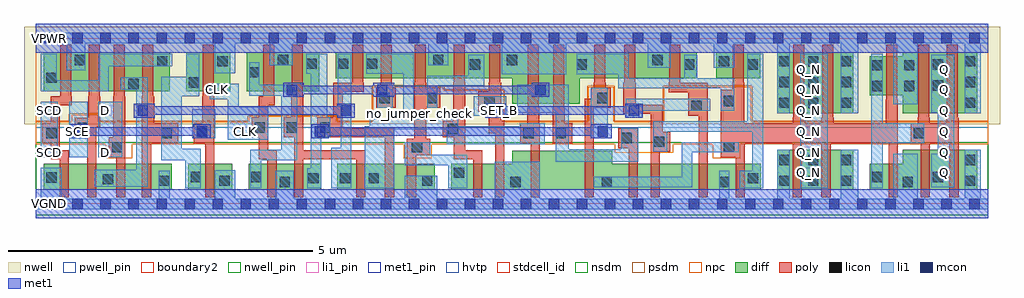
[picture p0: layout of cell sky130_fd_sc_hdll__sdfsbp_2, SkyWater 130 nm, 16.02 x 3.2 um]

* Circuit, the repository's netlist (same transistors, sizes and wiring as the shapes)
* Copyright 2020 The SkyWater PDK Authors
*
* Licensed under the Apache License, Version 2.0 (the "License");
* you may not use this file except in compliance with the License.
* You may obtain a copy of the License at
*
*     https://www.apache.org/licenses/LICENSE-2.0
*
* Unless required by applicable law or agreed to in writing, software
* distributed under the License is distributed on an "AS IS" BASIS,
* WITHOUT WARRANTIES OR CONDITIONS OF ANY KIND, either express or implied.
* See the License for the specific language governing permissions and
* limitations under the License.
*
* SPDX-License-Identifier: Apache-2.0

.SUBCKT sky130_fd_sc_hdll__sdfsbp_2 CLK D SCD SCE SET_B VGND VNB VPB VPWR Q Q_N
*.PININFO CLK:I D:I SCD:I SCE:I SET_B:I VGND:I VNB:I VPB:I VPWR:I Q:O
*.PININFO Q_N:O
MI101 db sceb p1 VPB sky130_fd_pr__pfet_01v8_hvt m=1 w=0.64U l=0.18U mult=1 sa=0.265
+ sb=0.265 sd=0.28 area=0.063 perim=1.14
MI107 p0 SCE VPWR VPB sky130_fd_pr__pfet_01v8_hvt m=1 w=0.64U l=0.18U mult=1 sa=0.265
+ sb=0.265 sd=0.28 area=0.063 perim=1.14
MI94 db D p0 VPB sky130_fd_pr__pfet_01v8_hvt m=1 w=0.64U l=0.18U mult=1 sa=0.265
+ sb=0.265 sd=0.28 area=0.063 perim=1.14
MI108 p1 SCD VPWR VPB sky130_fd_pr__pfet_01v8_hvt m=1 w=0.64U l=0.18U mult=1 sa=0.265
+ sb=0.265 sd=0.28 area=0.063 perim=1.14
MI645 sceb SCE VPWR VPB sky130_fd_pr__pfet_01v8_hvt m=1 w=0.64U l=0.18U mult=1
+ sa=0.265 sb=0.265 sd=0.28 area=0.063 perim=1.14
MI658 M1 M0 VPWR VPB sky130_fd_pr__pfet_01v8_hvt m=1 w=0.42U l=0.18U mult=1 sa=0.265
+ sb=0.265 sd=0.28 area=0.063 perim=1.14
MI47 clkpos clkneg VPWR VPB sky130_fd_pr__pfet_01v8_hvt m=1 w=0.64U l=0.18U mult=1
+ sa=0.265 sb=0.265 sd=0.28 area=0.063 perim=1.14
MI663 net195 S0 VPWR VPB sky130_fd_pr__pfet_01v8_hvt m=1 w=0.64U l=0.18U mult=1
+ sa=0.265 sb=0.265 sd=0.28 area=0.063 perim=1.14
MI660 Q net195 VPWR VPB sky130_fd_pr__pfet_01v8_hvt m=2 w=1.0U l=0.18U mult=1 sa=0.265
+ sb=0.265 sd=0.28 area=0.063 perim=1.14
MI659 M1 SET_B VPWR VPB sky130_fd_pr__pfet_01v8_hvt m=1 w=0.42U l=0.18U mult=1
+ sa=0.265 sb=0.265 sd=0.28 area=0.063 perim=1.14
MI662 net130 M1 VPWR VPB sky130_fd_pr__pfet_01v8_hvt m=1 w=0.42U l=0.18U mult=1
+ sa=0.265 sb=0.265 sd=0.28 area=0.063 perim=1.14
MI664 M0 clkneg net130 VPB sky130_fd_pr__pfet_01v8_hvt m=1 w=0.42U l=0.18U mult=1
+ sa=0.265 sb=0.265 sd=0.28 area=0.063 perim=1.14
MI6 net122 S1 VPWR VPB sky130_fd_pr__pfet_01v8_hvt m=1 w=0.42U l=0.18U mult=1 sa=0.265
+ sb=0.265 sd=0.28 area=0.063 perim=1.14
MI669 S0 clkpos net122 VPB sky130_fd_pr__pfet_01v8_hvt m=1 w=0.42U l=0.18U mult=1
+ sa=0.265 sb=0.265 sd=0.28 area=0.063 perim=1.14
MI24 S0 SET_B VPWR VPB sky130_fd_pr__pfet_01v8_hvt m=1 w=0.42U l=0.18U mult=1 sa=0.265
+ sb=0.265 sd=0.28 area=0.063 perim=1.14
MI648 S1 S0 VPWR VPB sky130_fd_pr__pfet_01v8_hvt m=1 w=0.42U l=0.18U mult=1 sa=0.265
+ sb=0.265 sd=0.28 area=0.063 perim=1.14
MI38 S0 clkneg net107 VPB sky130_fd_pr__pfet_01v8_hvt m=1 w=0.84U l=0.18U mult=1
+ sa=0.265 sb=0.265 sd=0.28 area=0.063 perim=1.14
MI37 net107 M0 VPWR VPB sky130_fd_pr__pfet_01v8_hvt m=1 w=0.84U l=0.18U mult=1
+ sa=0.265 sb=0.265 sd=0.28 area=0.063 perim=1.14
MI43 db clkpos M0 VPB sky130_fd_pr__pfet_01v8_hvt m=1 w=0.42U l=0.18U mult=1 sa=0.265
+ sb=0.265 sd=0.28 area=0.063 perim=1.14
MI45 clkneg CLK VPWR VPB sky130_fd_pr__pfet_01v8_hvt m=1 w=0.64U l=0.18U mult=1
+ sa=0.265 sb=0.265 sd=0.28 area=0.063 perim=1.14
MI661 Q_N S0 VPWR VPB sky130_fd_pr__pfet_01v8_hvt m=2 w=1.0U l=0.18U mult=1 sa=0.265
+ sb=0.265 sd=0.28 area=0.063 perim=1.14
MI98 db D n0 VNB sky130_fd_pr__nfet_01v8 m=1 w=0.42U l=0.15U mult=1 sa=0.265 sb=0.265
+ sd=0.28 area=0.525 perim=3.1
MI103 n1 SCD VGND VNB sky130_fd_pr__nfet_01v8 m=1 w=0.42U l=0.15U mult=1 sa=0.265
+ sb=0.265 sd=0.28 area=0.525 perim=3.1
MI120 db SCE n1 VNB sky130_fd_pr__nfet_01v8 m=1 w=0.42U l=0.15U mult=1 sa=0.265
+ sb=0.265 sd=0.28 area=0.525 perim=3.1
MI104 n0 sceb VGND VNB sky130_fd_pr__nfet_01v8 m=1 w=0.42U l=0.15U mult=1 sa=0.265
+ sb=0.265 sd=0.28 area=0.525 perim=3.1
MI34 S0 clkpos net242 VNB sky130_fd_pr__nfet_01v8 m=1 w=0.64U l=0.15U mult=1 sa=0.265
+ sb=0.265 sd=0.28 area=0.063 perim=1.14
MI27 net239 S1 net187 VNB sky130_fd_pr__nfet_01v8 m=1 w=0.42U l=0.15U mult=1 sa=0.265
+ sb=0.265 sd=0.28 area=0.063 perim=1.14
MI647 S1 S0 VGND VNB sky130_fd_pr__nfet_01v8 m=1 w=0.42U l=0.15U mult=1 sa=0.265
+ sb=0.265 sd=0.28 area=0.063 perim=1.14
MI655 M0 clkpos net223 VNB sky130_fd_pr__nfet_01v8 m=1 w=0.42U l=0.15U mult=1 sa=0.265
+ sb=0.265 sd=0.28 area=0.063 perim=1.14
MI656 M1 M0 net226 VNB sky130_fd_pr__nfet_01v8 m=1 w=0.42U l=0.15U mult=1 sa=0.265
+ sb=0.265 sd=0.28 area=0.063 perim=1.14
MI654 net223 M1 VGND VNB sky130_fd_pr__nfet_01v8 m=1 w=0.42U l=0.15U mult=1 sa=0.265
+ sb=0.265 sd=0.28 area=0.063 perim=1.14
MI36 net242 M0 VGND VNB sky130_fd_pr__nfet_01v8 m=1 w=0.64U l=0.15U mult=1 sa=0.265
+ sb=0.265 sd=0.28 area=0.063 perim=1.14
MI26 S0 clkneg net239 VNB sky130_fd_pr__nfet_01v8 m=1 w=0.42U l=0.15U mult=1 sa=0.265
+ sb=0.265 sd=0.28 area=0.063 perim=1.14
MI42 db clkneg M0 VNB sky130_fd_pr__nfet_01v8 m=1 w=0.42U l=0.15U mult=1 sa=0.265
+ sb=0.265 sd=0.28 area=0.063 perim=1.14
MI46 clkpos clkneg VGND VNB sky130_fd_pr__nfet_01v8 m=1 w=0.42U l=0.15U mult=1
+ sa=0.265 sb=0.265 sd=0.28 area=0.063 perim=1.14
MI44 clkneg CLK VGND VNB sky130_fd_pr__nfet_01v8 m=1 w=0.42U l=0.15U mult=1 sa=0.265
+ sb=0.265 sd=0.28 area=0.063 perim=1.14
MI657 net226 SET_B VGND VNB sky130_fd_pr__nfet_01v8 m=1 w=0.42U l=0.15U mult=1
+ sa=0.265 sb=0.265 sd=0.28 area=0.063 perim=1.14
MI652 net195 S0 VGND VNB sky130_fd_pr__nfet_01v8 m=1 w=0.42U l=0.15U mult=1 sa=0.265
+ sb=0.265 sd=0.28 area=0.063 perim=1.14
MI644 sceb SCE VGND VNB sky130_fd_pr__nfet_01v8 m=1 w=0.42U l=0.15U mult=1 sa=0.265
+ sb=0.265 sd=0.28 area=0.063 perim=1.14
MI25 net187 SET_B VGND VNB sky130_fd_pr__nfet_01v8 m=1 w=0.42U l=0.15U mult=1 sa=0.265
+ sb=0.265 sd=0.28 area=0.063 perim=1.14
MI653 Q net195 VGND VNB sky130_fd_pr__nfet_01v8 m=2 w=0.65U l=0.15U mult=1 sa=0.265
+ sb=0.265 sd=0.28 area=0.063 perim=1.14
MI651 Q_N S0 VGND VNB sky130_fd_pr__nfet_01v8 m=2 w=0.65U l=0.15U mult=1 sa=0.265
+ sb=0.265 sd=0.28 area=0.063 perim=1.14
.ENDS sky130_fd_sc_hdll__sdfsbp_2

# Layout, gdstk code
import gdstk
lib = gdstk.Library(unit=1e-6, precision=1e-09)
def R(c, l, rs):  # rectangles x0, y0, x1, y1
    for r in rs: c.add(gdstk.rectangle(r[:2], r[2:], *l))
def A(c, l, x, y, w, h, nx, ny, dx, dy):  # array of equal rectangles
    R(c, l, [(x+i*dx, y+j*dy, x+i*dx+w, y+j*dy+h) for i in range(nx) for j in range(ny)])
def P(c, l, *ps):  # polygons
    for p in ps: c.add(gdstk.Polygon(p, *l))
nwell_pin = (64, 16)
nwell = (64, 20)
diff = (65, 20)
poly = (66, 20)
licon = (66, 44)
li1_pin = (67, 16)
li1 = (67, 20)
mcon = (67, 44)
met1_pin = (68, 16)
met1 = (68, 20)
hvtp = (78, 44)
stdcell_id = (81, 4)
nsdm = (93, 44)
psdm = (94, 20)
npc = (95, 20)
pwell_pin = (122, 16)
boundary2 = (236, 0)

sky130_fd_sc_hdll__sdfsb = lib.new_cell('sky130_fd_sc_hdll__sdfsbp_2')
R(sky130_fd_sc_hdll__sdfsb, nwell_pin, [(0.15,2.635,0.32,2.805)])
R(sky130_fd_sc_hdll__sdfsb, nwell, [(-0.19,1.305,15.83,2.91)])
R(sky130_fd_sc_hdll__sdfsb, diff, [(0.135,0.235,2.235,0.655), (2.505,0.235,3.225,0.655), (3.495,0.235,4.685,0.655), (4.955,0.235,6.555,0.655), (12.17,0.235,13.425,0.885), (12.17,1.485,13.425,2.485), (0.135,1.845,2.205,2.485), (2.475,1.845,3.195,2.485), (3.465,1.845,4.655,2.485), (11.175,2.065,11.895,2.485)])
P(sky130_fd_sc_hdll__sdfsb, diff, [(15.46,0.885),(14.23,0.885),(14.23,0.655),(13.695,0.655),(13.695,0.235),(15.46,0.235)],
  [(15.46,2.485),(14.23,2.485),(14.23,2.42),(13.695,2.42),(13.695,1.78),(14.23,1.78),(14.23,1.485),(15.46,1.485)],
  [(11.9,0.655),(9.465,0.655),(9.465,0.875),(7.82,0.875),(7.82,0.655),(6.825,0.655),(6.825,0.235),(11.9,0.235)],
  [(10.855,2.485),(4.925,2.485),(4.925,2.065),(7.82,2.065),(7.82,1.645),(8.935,1.645),(8.935,2.065),(10.855,2.065)])
P(sky130_fd_sc_hdll__sdfsb, poly, [(0.595,1.77),(0.585,1.77),(0.585,2.615),(0.405,2.615),(0.405,1.77),(0.245,1.77),(0.245,1.325),(0.11,1.325),(0.11,0.995),(0.245,0.995),(0.245,0.73),(0.395,0.73),(0.395,0.105),(0.545,0.105),(0.545,0.88),(0.395,0.88),(0.395,1.62),(0.595,1.62)],
  [(1.065,1.77),(1.055,1.77),(1.055,2.615),(0.875,2.615),(0.875,1.77),(0.865,1.77),(0.865,1.41),(0.64,1.41),(0.64,1.08),(0.845,1.08),(0.845,0.105),(0.995,0.105),(0.995,1.265),(1.065,1.265)],
  [(1.475,1.77),(1.465,1.77),(1.465,2.615),(1.285,2.615),(1.285,1.77),(1.275,1.77),(1.275,1.095),(1.205,1.095),(1.205,0.765),(1.325,0.765),(1.325,0.105),(1.475,0.105)],
  [(2.345,1.325),(1.945,1.325),(1.945,1.77),(1.935,1.77),(1.935,2.615),(1.755,2.615),(1.755,1.77),(1.745,1.77),(1.745,0.105),(1.895,0.105),(1.895,0.995),(2.345,0.995)],
  [(2.935,1.77),(2.925,1.77),(2.925,2.615),(2.745,2.615),(2.745,1.77),(2.735,1.77),(2.735,1.325),(2.6,1.325),(2.6,0.995),(2.785,0.995),(2.785,0.105),(2.935,0.105)],
  [(3.955,0.88),(3.815,0.88),(3.815,1.62),(3.925,1.62),(3.925,1.77),(3.915,1.77),(3.915,2.615),(3.735,2.615),(3.735,1.77),(3.665,1.77),(3.665,1.42),(3.545,1.42),(3.545,1.09),(3.665,1.09),(3.665,0.73),(3.805,0.73),(3.805,0.105),(3.955,0.105)],
  [(5.415,0.88),(4.395,0.88),(4.395,1.77),(4.385,1.77),(4.385,2.615),(4.205,2.615),(4.205,1.77),(4.195,1.77),(4.195,1.42),(4.075,1.42),(4.075,1.09),(4.245,1.09),(4.245,0.105),(4.395,0.105),(4.395,0.73),(5.265,0.73),(5.265,0.105),(5.415,0.105)],
  [(5.885,1.24),(5.04,1.24),(5.04,1.84),(5.385,1.84),(5.385,1.99),(5.375,1.99),(5.375,2.615),(5.195,2.615),(5.195,1.99),(4.89,1.99),(4.89,1.42),(4.62,1.42),(4.62,1.09),(5.735,1.09),(5.735,0.105),(5.885,0.105)],
  [(5.915,1.905),(5.855,1.905),(5.855,1.99),(5.845,1.99),(5.845,2.615),(5.665,2.615),(5.665,1.99),(5.655,1.99),(5.655,1.905),(5.595,1.905),(5.595,1.575),(5.915,1.575)],
  [(6.645,1.905),(6.415,1.905),(6.415,1.99),(6.405,1.99),(6.405,2.615),(6.225,2.615),(6.225,1.99),(6.215,1.99),(6.215,1.065),(6.095,1.065),(6.095,0.105),(6.245,0.105),(6.245,0.795),(6.475,0.795),(6.475,1.065),(6.415,1.065),(6.415,1.575),(6.645,1.575)],
  [(7.335,0.88),(7.055,0.88),(7.055,1.99),(7.045,1.99),(7.045,2.615),(6.865,2.615),(6.865,1.99),(6.855,1.99),(6.855,1.365),(6.685,1.365),(6.685,1.095),(6.865,1.095),(6.865,0.73),(7.185,0.73),(7.185,0.105),(7.335,0.105)],
  [(7.695,1.365),(7.64,1.365),(7.64,1.99),(7.63,1.99),(7.63,2.615),(7.45,2.615),(7.45,1.99),(7.44,1.99),(7.44,1.845),(7.265,1.845),(7.265,1.515),(7.44,1.515),(7.44,1.16),(7.545,1.16),(7.545,0.105),(7.695,0.105)],
  [(8.275,1.325),(8.27,1.325),(8.27,1.57),(8.26,1.57),(8.26,2.615),(8.08,2.615),(8.08,1.57),(8.07,1.57),(8.07,1.325),(7.955,1.325),(7.955,0.995),(8.125,0.995),(8.125,0.105),(8.275,0.105)],
  [(8.805,1.325),(8.685,1.325),(8.685,1.57),(8.675,1.57),(8.675,2.615),(8.495,2.615),(8.495,1.57),(8.485,1.57),(8.485,0.995),(8.805,0.995)],
  [(9.44,1.905),(9.36,1.905),(9.36,1.99),(9.35,1.99),(9.35,2.615),(9.17,2.615),(9.17,1.99),(9.16,1.99),(9.16,1.905),(9.12,1.905),(9.12,1.725),(9.015,1.725),(9.015,0.105),(9.165,0.105),(9.165,1.575),(9.44,1.575)],
  [(9.885,1.245),(9.56,1.245),(9.56,0.915),(9.735,0.915),(9.735,0.105),(9.885,0.105)],
  [(10.415,1.185),(10.295,1.185),(10.295,1.625),(9.85,1.625),(9.85,1.99),(9.84,1.99),(9.84,2.615),(9.66,2.615),(9.66,1.99),(9.65,1.99),(9.65,1.475),(10.095,1.475),(10.095,0.105),(10.245,0.105),(10.245,0.855),(10.415,0.855)],
  [(11.035,1.985),(10.595,1.985),(10.595,1.99),(10.585,1.99),(10.585,2.615),(10.405,2.615),(10.405,1.99),(10.395,1.99),(10.395,1.835),(10.715,1.835),(10.715,1.445),(10.885,1.445),(10.885,0.105),(11.035,0.105)],
  [(14.155,1.705),(14.145,1.705),(14.145,2.615),(13.965,2.615),(13.965,1.705),(13.955,1.705),(13.955,1.325),(13.1,1.325),(13.1,1.41),(13.09,1.41),(13.09,2.615),(12.91,2.615),(12.91,1.41),(12.9,1.41),(12.9,1.325),(12.63,1.325),(12.63,1.41),(12.62,1.41),(12.62,2.615),(12.44,2.615),(12.44,1.41),(12.43,1.41),(12.43,1.325),(11.635,1.325),(11.635,1.99),(11.625,1.99),(11.625,2.615),(11.445,2.615),(11.445,1.99),(11.435,1.99),(11.435,1.875),(11.245,1.875),(11.245,0.765),(11.49,0.765),(11.49,0.105),(11.64,0.105),(11.64,0.995),(12.43,0.995),(12.43,0.105),(12.58,0.105),(12.58,0.995),(12.9,0.995),(12.9,0.105),(13.05,0.105),(13.05,0.995),(14.005,0.995),(14.005,0.105),(14.155,0.105)],
  [(15.15,1.41),(15.14,1.41),(15.14,2.615),(14.96,2.615),(14.96,1.41),(14.95,1.41),(14.95,1.325),(14.68,1.325),(14.68,1.41),(14.67,1.41),(14.67,2.615),(14.49,2.615),(14.49,1.41),(14.48,1.41),(14.48,1.325),(14.365,1.325),(14.365,0.995),(14.53,0.995),(14.53,0.105),(14.68,0.105),(14.68,0.995),(15,0.995),(15,0.105),(15.15,0.105)])
A(sky130_fd_sc_hdll__sdfsb, licon, 12.68, 1.57, 0.17, 0.17, 1, 3, 0, 0.34)
A(sky130_fd_sc_hdll__sdfsb, licon, 12.21, 1.575, 0.17, 0.17, 1, 3, 0, 0.34)
A(sky130_fd_sc_hdll__sdfsb, licon, 13.215, 1.575, 0.17, 0.17, 1, 3, 0, 0.34)
A(sky130_fd_sc_hdll__sdfsb, licon, 15.25, 1.575, 0.17, 0.17, 1, 3, 0, 0.34)
R(sky130_fd_sc_hdll__sdfsb, licon, [(4.005,0.275,4.175,0.445), (7.795,0.275,7.965,0.445), (9.29,0.275,9.46,0.445), (11.22,0.275,11.39,0.445), (14.23,0.275,14.4,0.445), (2.025,0.295,2.195,0.465), (3.015,0.295,3.185,0.465), (6.345,0.295,6.515,0.465), (12.21,0.295,12.38,0.465), (12.68,0.295,12.85,0.465), (13.215,0.295,13.385,0.465), (15.25,0.295,15.42,0.465), (1.105,0.32,1.275,0.49), (4.475,0.335,4.645,0.505), (4.995,0.335,5.165,0.505), (5.465,0.335,5.635,0.505), (11.69,0.335,11.86,0.505), (0.175,0.345,0.345,0.515), (2.545,0.355,2.715,0.525), (3.535,0.355,3.705,0.525), (13.735,0.355,13.905,0.525), (14.73,0.355,14.9,0.525), (6.865,0.425,7.035,0.595), (12.21,0.635,12.38,0.805), (12.68,0.635,12.85,0.805), (13.215,0.635,13.385,0.805), (15.25,0.635,15.42,0.805), (1.255,0.845,1.425,1.015), (6.175,0.845,6.345,1.015), (11.295,0.845,11.465,1.015), (10.145,0.935,10.315,1.105), (9.615,0.995,9.785,1.165), (0.175,1.075,0.345,1.245), (2.065,1.075,2.235,1.245), (2.65,1.075,2.82,1.245), (8.005,1.075,8.175,1.245), (8.535,1.075,8.705,1.245), (14.415,1.075,14.585,1.245), (6.765,1.145,6.935,1.315), (0.69,1.16,0.86,1.33), (3.595,1.17,3.765,1.34), (4.125,1.17,4.295,1.34), (4.67,1.17,4.84,1.34), (10.765,1.525,10.935,1.695), (7.365,1.595,7.535,1.765), (11.295,1.605,11.465,1.775), (5.645,1.655,5.815,1.825), (6.425,1.655,6.595,1.825), (9.22,1.655,9.39,1.825), (13.735,1.85,13.905,2.02), (14.255,1.85,14.425,2.02), (14.73,1.86,14.9,2.03), (1.525,1.885,1.695,2.055), (2.515,1.905,2.685,2.075), (0.175,1.985,0.345,2.155), (3.505,2.075,3.675,2.245), (13.735,2.19,13.905,2.36), (14.255,2.19,14.425,2.36), (7.125,2.2,7.295,2.37), (10.645,2.2,10.815,2.37), (11.685,2.2,11.855,2.37), (14.73,2.2,14.9,2.37), (8.88,2.205,9.05,2.375), (4.445,2.215,4.615,2.385), (4.965,2.215,5.135,2.385), (5.435,2.215,5.605,2.385), (1.995,2.255,2.165,2.425), (2.985,2.255,3.155,2.425), (11.215,2.255,11.385,2.425), (0.645,2.275,0.815,2.445), (3.975,2.275,4.145,2.445), (6.525,2.275,6.695,2.445), (7.735,2.275,7.905,2.445), (10.125,2.275,10.295,2.445)])
A(sky130_fd_sc_hdll__sdfsb, li1_pin, 12.595, 0.425, 0.17, 0.17, 1, 6, 0, 0.34)
A(sky130_fd_sc_hdll__sdfsb, li1_pin, 14.835, 0.425, 0.17, 0.17, 1, 6, 0, 0.34)
R(sky130_fd_sc_hdll__sdfsb, li1_pin, [(0.15,0.765,0.32,0.935), (1.08,0.765,1.25,0.935), (3.37,1.105,3.54,1.275), (0.15,1.445,0.32,1.615), (1.08,1.445,1.25,1.615), (2.91,1.785,3.08,1.955)])
R(sky130_fd_sc_hdll__sdfsb, li1, [(12.21,0.155,12.38,0.885), (12.555,0.255,13,2.465), (0.085,0.765,0.365,1.675), (0.55,0.765,0.86,1.675), (1.03,0.765,1.425,1.675), (2.57,1.075,2.95,1.55), (9.115,1.075,9.395,1.905), (7.19,1.445,7.725,1.765), (12.17,1.485,12.38,2.555), (5.605,1.575,5.865,1.955)])
P(sky130_fd_sc_hdll__sdfsb, li1, [(14.585,1.325),(13.905,1.325),(13.905,2.465),(13.72,2.465),(13.72,0.255),(13.905,0.255),(13.905,0.995),(14.585,0.995)],
  [(15.08,2.45),(14.7,2.45),(14.7,1.495),(14.805,1.495),(14.805,0.825),(14.7,0.825),(14.7,0.275),(15.08,0.275)],
  [(11.945,2.465),(11.685,2.465),(11.685,1.355),(10.14,1.355),(10.14,0.855),(10.365,0.855),(10.365,1.185),(11.765,1.185),(11.765,0.54),(11.56,0.54),(11.56,0.255),(11.945,0.255)],
  [(11.545,1.015),(10.605,1.015),(10.605,0.445),(9.16,0.445),(9.16,0.275),(10.775,0.275),(10.775,0.845),(11.545,0.845)],
  [(11.465,2.065),(10.86,2.065),(10.86,2.45),(10.645,2.45),(10.645,2.065),(9.735,2.065),(9.735,2.46),(8.88,2.46),(8.88,2.125),(9.565,2.125),(9.565,1.895),(11.245,1.895),(11.245,1.525),(11.465,1.525)],
  [(11.075,1.725),(9.685,1.725),(9.685,1.415),(9.96,1.415),(9.96,1.525),(11.075,1.525)],
  [(9.89,1.245),(9.61,1.245),(9.61,0.895),(8.755,0.895),(8.755,1.955),(7.91,1.955),(7.91,1.495),(8.535,1.495),(8.535,0.695),(9.89,0.695)],
  [(8.36,1.325),(7.95,1.325),(7.95,1.275),(6.935,1.275),(6.935,1.395),(6.205,1.395),(6.205,2.465),(5.43,2.465),(5.43,2.135),(6.035,2.135),(6.035,1.395),(5.485,1.395),(5.485,1.275),(5.4,1.275),(5.4,0.255),(5.89,0.255),(5.89,1.225),(6.75,1.225),(6.75,0.975),(8.36,0.975)],
  [(7.365,2.45),(7.1,2.45),(7.1,2.105),(6.425,2.105),(6.425,1.575),(6.595,1.575),(6.595,1.935),(7.365,1.935)],
  [(7.085,0.805),(6.475,0.805),(6.475,1.015),(6.06,1.015),(6.06,0.635),(6.775,0.635),(6.775,0.255),(7.085,0.255)],
  [(15.64,2.805),(0,2.805),(0,2.635),(0.515,2.635),(0.515,2.195),(0.815,2.195),(0.815,2.635),(2.94,2.635),(2.94,2.14),(3.28,2.14),(3.28,2.635),(3.845,2.635),(3.845,2.275),(4.225,2.275),(4.225,2.635),(6.445,2.635),(6.445,2.275),(6.775,2.275),(6.775,2.635),(7.655,2.635),(7.655,2.125),(8.71,2.125),(8.71,2.635),(10.045,2.635),(10.045,2.235),(10.425,2.235),(10.425,2.635),(11.135,2.635),(11.135,2.235),(11.465,2.235),(11.465,2.635),(12.17,2.635),(12.17,1.485),(12.38,1.485),(12.38,2.635),(13.215,2.635),(13.215,1.485),(13.505,1.485),(13.505,2.635),(14.075,2.635),(14.075,1.635),(14.48,1.635),(14.48,2.635),(15.25,2.635),(15.25,1.485),(15.515,1.485),(15.515,2.635),(15.64,2.635)],
  [(5.18,2.465),(4.96,2.465),(4.96,1.59),(5.01,1.59),(5.01,0.92),(4.855,0.92),(4.855,0.255),(5.18,0.255)],
  [(4.84,1.42),(4.79,1.42),(4.79,2.465),(4.445,2.465),(4.445,2.135),(4.515,2.135),(4.515,0.585),(4.46,0.585),(4.46,0.255),(4.685,0.255),(4.685,1.09),(4.84,1.09)],
  [(4.295,1.955),(3.675,1.955),(3.675,2.325),(3.505,2.325),(3.505,1.775),(4.035,1.775),(4.035,0.885),(3.52,0.885),(3.52,0.255),(3.705,0.255),(3.705,0.715),(4.295,0.715)],
  [(3.815,1.59),(3.335,1.59),(3.335,1.97),(2.855,1.97),(2.855,1.72),(3.155,1.72),(3.155,1.055),(3.815,1.055)],
  [(2.685,2.465),(2.47,2.465),(2.47,2.085),(2.065,2.085),(2.065,0.715),(2.46,0.715),(2.46,0.255),(2.715,0.255),(2.715,0.905),(2.4,0.905),(2.4,1.77),(2.685,1.77)],
  [(2.245,2.465),(1.035,2.465),(1.035,2.025),(0.345,2.025),(0.345,2.465),(0.085,2.465),(0.085,1.845),(1.205,1.845),(1.205,2.255),(2.245,2.255)],
  [(1.845,2.075),(1.395,2.075),(1.395,1.87),(1.655,1.87),(1.655,0.56),(0.975,0.56),(0.975,0.28),(1.845,0.28)],
  [(15.64,0.085),(15.515,0.085),(15.515,0.885),(15.25,0.885),(15.25,0.085),(14.48,0.085),(14.48,0.825),(14.075,0.825),(14.075,0.085),(13.505,0.085),(13.505,0.885),(13.215,0.885),(13.215,0.085),(12.38,0.085),(12.38,0.885),(12.17,0.885),(12.17,0.085),(11.39,0.085),(11.39,0.545),(11.22,0.545),(11.22,0.085),(8.275,0.085),(8.275,0.69),(7.54,0.69),(7.54,0.085),(6.595,0.085),(6.595,0.465),(6.06,0.465),(6.06,0.085),(4.24,0.085),(4.24,0.545),(3.93,0.545),(3.93,0.085),(3.28,0.085),(3.28,0.555),(2.94,0.555),(2.94,0.085),(2.205,0.085),(2.205,0.545),(2.025,0.545),(2.025,0.085),(0.43,0.085),(0.43,0.595),(0.085,0.595),(0.085,0.085),(0,0.085),(0,-0.085),(15.64,-0.085)])
A(sky130_fd_sc_hdll__sdfsb, mcon, 0.145, -0.085, 0.17, 0.17, 34, 2, 0.46, 2.72)
R(sky130_fd_sc_hdll__sdfsb, mcon, [(0.63,1.105,0.8,1.275), (2.645,1.105,2.815,1.275), (4.585,1.105,4.755,1.275), (9.225,1.105,9.395,1.275), (1.675,1.445,1.845,1.615), (5.01,1.445,5.18,1.615), (7.445,1.445,7.615,1.615), (9.735,1.445,9.905,1.615), (4.125,1.785,4.295,1.955), (5.605,1.785,5.775,1.955), (8.205,1.785,8.375,1.955)])
R(sky130_fd_sc_hdll__sdfsb, met1_pin, [(0.15,-0.085,0.32,0.085), (0.605,1.105,0.775,1.275), (7.505,1.445,7.675,1.615), (0.15,2.635,0.32,2.805)])
R(sky130_fd_sc_hdll__sdfsb, met1, [(0,-0.24,15.64,0.24), (0,2.48,15.64,2.96)])
P(sky130_fd_sc_hdll__sdfsb, met1, [(9.965,1.645),(9.675,1.645),(9.675,1.6),(7.725,1.6),(7.725,1.645),(7.385,1.645),(7.385,1.415),(7.725,1.415),(7.725,1.46),(9.675,1.46),(9.675,1.415),(9.965,1.415)],
  [(9.455,1.305),(9.115,1.305),(9.115,1.26),(4.815,1.26),(4.815,1.305),(4.525,1.305),(4.525,1.075),(4.815,1.075),(4.815,1.12),(9.115,1.12),(9.115,1.075),(9.455,1.075)],
  [(8.435,1.985),(8.145,1.985),(8.145,1.94),(5.885,1.94),(5.885,1.985),(5.545,1.985),(5.545,1.94),(4.405,1.94),(4.405,1.985),(4.065,1.985),(4.065,1.755),(4.405,1.755),(4.405,1.8),(5.545,1.8),(5.545,1.755),(5.885,1.755),(5.885,1.8),(8.145,1.8),(8.145,1.755),(8.435,1.755)],
  [(5.24,1.645),(4.95,1.645),(4.95,1.6),(1.955,1.6),(1.955,1.645),(1.615,1.645),(1.615,1.415),(1.955,1.415),(1.955,1.46),(4.95,1.46),(4.95,1.415),(5.24,1.415)],
  [(2.875,1.305),(2.585,1.305),(2.585,1.26),(0.86,1.26),(0.86,1.305),(0.57,1.305),(0.57,1.075),(0.86,1.075),(0.86,1.12),(2.585,1.12),(2.585,1.075),(2.875,1.075)])
R(sky130_fd_sc_hdll__sdfsb, hvtp, [(0,1.25,15.64,2.72)])
R(sky130_fd_sc_hdll__sdfsb, stdcell_id, [(0,0,15.64,2.72)])
R(sky130_fd_sc_hdll__sdfsb, nsdm, [(0,-0.19,15.64,1.015)])
P(sky130_fd_sc_hdll__sdfsb, psdm, [(15.64,2.91),(0,2.91),(0,1.355),(0.55,1.355),(0.55,1.48),(1.035,1.48),(1.035,1.355),(3.485,1.355),(3.485,1.45),(4.95,1.45),(4.95,1.355),(5.525,1.355),(5.525,1.935),(6.705,1.935),(6.705,1.875),(7.695,1.875),(7.695,1.355),(9.06,1.355),(9.06,1.935),(9.5,1.935),(9.5,1.355),(10.3,1.355),(10.3,1.935),(11.76,1.935),(11.76,1.355),(15.64,1.355)])
P(sky130_fd_sc_hdll__sdfsb, npc, [(15.64,1.345),(11.75,1.345),(11.75,1.925),(10.31,1.925),(10.31,1.345),(9.49,1.345),(9.49,1.925),(9.07,1.925),(9.07,1.345),(7.685,1.345),(7.685,1.865),(6.695,1.865),(6.695,1.925),(5.535,1.925),(5.535,1.345),(4.94,1.345),(4.94,1.44),(3.495,1.44),(3.495,1.345),(1.025,1.345),(1.025,1.465),(0.59,1.465),(0.59,1.345),(0,1.345),(0,0.975),(1.155,0.975),(1.155,0.745),(1.585,0.745),(1.585,0.975),(6.04,0.975),(6.04,0.745),(6.505,0.745),(6.505,0.975),(9.51,0.975),(9.51,0.835),(10.465,0.835),(10.465,0.975),(11.115,0.975),(11.115,0.745),(11.565,0.745),(11.565,0.975),(15.64,0.975)])
R(sky130_fd_sc_hdll__sdfsb, pwell_pin, [(0.15,-0.085,0.32,0.085)])
R(sky130_fd_sc_hdll__sdfsb, boundary2, [(0,0,15.64,2.72)])
sky130_fd_sc_hdll__sdfsb.add(gdstk.Label('Q_N', (12.685,1.87), layer=67, texttype=5))
sky130_fd_sc_hdll__sdfsb.add(gdstk.Label('Q_N', (12.685,2.21), layer=67, texttype=5))
sky130_fd_sc_hdll__sdfsb.add(gdstk.Label('Q_N', (12.685,1.53), layer=67, texttype=5))
sky130_fd_sc_hdll__sdfsb.add(gdstk.Label('Q_N', (12.685,1.19), layer=67, texttype=5))
sky130_fd_sc_hdll__sdfsb.add(gdstk.Label('Q_N', (12.685,0.85), layer=67, texttype=5))
sky130_fd_sc_hdll__sdfsb.add(gdstk.Label('Q_N', (12.685,0.51), layer=67, texttype=5))
sky130_fd_sc_hdll__sdfsb.add(gdstk.Label('Q', (14.92,1.87), layer=67, texttype=5))
sky130_fd_sc_hdll__sdfsb.add(gdstk.Label('Q', (14.92,2.21), layer=67, texttype=5))
sky130_fd_sc_hdll__sdfsb.add(gdstk.Label('Q', (14.92,1.19), layer=67, texttype=5))
sky130_fd_sc_hdll__sdfsb.add(gdstk.Label('Q', (14.92,0.85), layer=67, texttype=5))
sky130_fd_sc_hdll__sdfsb.add(gdstk.Label('Q', (14.92,0.51), layer=67, texttype=5))
sky130_fd_sc_hdll__sdfsb.add(gdstk.Label('Q', (14.92,1.53), layer=67, texttype=5))
sky130_fd_sc_hdll__sdfsb.add(gdstk.Label('CLK', (3.45,1.19), layer=67, texttype=5))
sky130_fd_sc_hdll__sdfsb.add(gdstk.Label('D', (1.155,0.85), layer=67, texttype=5))
sky130_fd_sc_hdll__sdfsb.add(gdstk.Label('SCD', (0.23,1.53), layer=67, texttype=5))
sky130_fd_sc_hdll__sdfsb.add(gdstk.Label('D', (1.155,1.53), layer=67, texttype=5))
sky130_fd_sc_hdll__sdfsb.add(gdstk.Label('CLK', (2.99,1.87), layer=67, texttype=5))
sky130_fd_sc_hdll__sdfsb.add(gdstk.Label('SCD', (0.23,0.85), layer=67, texttype=5))
sky130_fd_sc_hdll__sdfsb.add(gdstk.Label('SCE', (0.695,1.19), layer=68, texttype=5))
sky130_fd_sc_hdll__sdfsb.add(gdstk.Label('SET_B', (7.615,1.53), layer=68, texttype=5))
sky130_fd_sc_hdll__sdfsb.add(gdstk.Label('VGND', (0.23,0), layer=68, texttype=5))
sky130_fd_sc_hdll__sdfsb.add(gdstk.Label('VPWR', (0.23,2.72), layer=68, texttype=5))
sky130_fd_sc_hdll__sdfsb.add(gdstk.Label('VPB', (0.235,2.72), layer=64, texttype=5))
sky130_fd_sc_hdll__sdfsb.add(gdstk.Label('VNB', (0.235,0), layer=64, texttype=59))
sky130_fd_sc_hdll__sdfsb.add(gdstk.Label('no_jumper_check', (6.305,1.485), layer=83, texttype=44))
sky130_fd_sc_hdll__sdfsb.add(gdstk.Label('sdfsbp_1', (0,0), layer=83, texttype=44))
sky130_fd_sc_hdll__sdfsb.add(gdstk.Label('no_jumper_check', (12.22,1.125), layer=83, texttype=44))

lib.write_gds('sky130_fd_sc_hdll__sdfsbp_2.gds')
